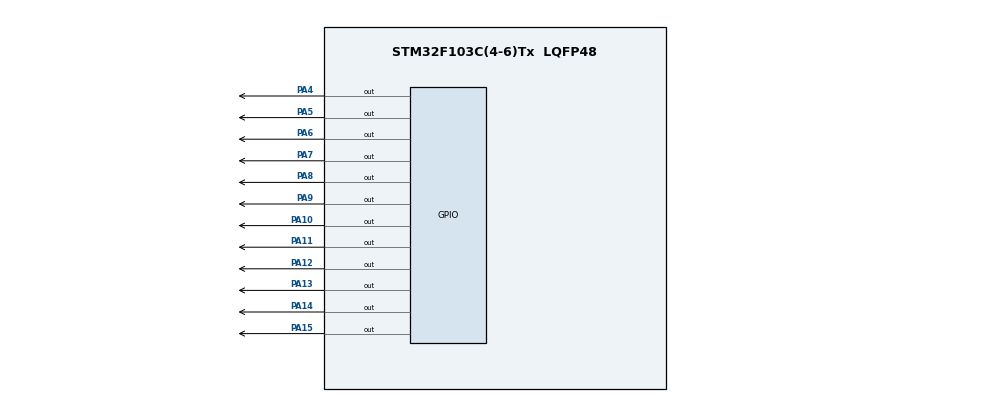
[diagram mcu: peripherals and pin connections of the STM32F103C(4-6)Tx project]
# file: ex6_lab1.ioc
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Mcu.Family=STM32F1
Mcu.Name=STM32F103C(4-6)Tx
Mcu.Package=LQFP48
NVIC.PriorityGroup=NVIC_PRIORITYGROUP_4
PA10.Signal=GPIO_Output
PA11.Signal=GPIO_Output
PA12.Signal=GPIO_Output
PA13.Signal=GPIO_Output
PA14.Signal=GPIO_Output
PA15.Signal=GPIO_Output
PA4.Signal=GPIO_Output
PA5.Signal=GPIO_Output
PA6.Signal=GPIO_Output
PA7.Signal=GPIO_Output
PA8.Signal=GPIO_Output
PA9.Signal=GPIO_Output
ProjectManager.HeapSize=0x200
ProjectManager.StackSize=0x400
ProjectManager.TargetToolchain=STM32CubeIDE
RCC.APB1Freq_Value=8000000
RCC.APB2Freq_Value=8000000
board=custom

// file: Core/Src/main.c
/* USER CODE BEGIN Header */
/**
  ******************************************************************************
  * @file           : main.c
  * @brief          : Main program body
  ******************************************************************************
  * @attention
  *
  * Copyright (c) 2025 STMicroelectronics.
  * All rights reserved.
  *
  * This software is licensed under terms that can be found in the LICENSE file
  * in the root directory of this software component.
  * If no LICENSE file comes with this software, it is provided AS-IS.
  *
  ******************************************************************************
  */
/* USER CODE END Header */
#include "main.h"

void SystemClock_Config(void);
static void MX_GPIO_Init(void);

int main(void)
{

  /* MCU Configuration--------------------------------------------------------*/

  /* Reset of all peripherals, Initializes the Flash interface and the Systick. */
  HAL_Init();

  /* Configure the system clock */
  SystemClock_Config();

  /* Initialize all configured peripherals */
  MX_GPIO_Init();

  /* Infinite loop */
  /* USER CODE BEGIN WHILE */
  while (1)
  {
	  HAL_GPIO_WritePin(GPIOA, GPIO_PIN_4, SET);
	  HAL_Delay(1000);
	  HAL_GPIO_WritePin(GPIOA, GPIO_PIN_4, RESET);
	  HAL_GPIO_WritePin(GPIOA, GPIO_PIN_5, SET);
	  HAL_Delay(1000);
	  HAL_GPIO_WritePin(GPIOA, GPIO_PIN_5, RESET);
	  HAL_GPIO_WritePin(GPIOA, GPIO_PIN_6, SET);
	  HAL_Delay(1000);
	  HAL_GPIO_WritePin(GPIOA, GPIO_PIN_6, RESET);
	  HAL_GPIO_WritePin(GPIOA, GPIO_PIN_7, SET);
	  HAL_Delay(1000);
	  HAL_GPIO_WritePin(GPIOA, GPIO_PIN_7, RESET);
	  HAL_GPIO_WritePin(GPIOA, GPIO_PIN_8, SET);
	  HAL_Delay(1000);
	  HAL_GPIO_WritePin(GPIOA, GPIO_PIN_8, RESET);
	  HAL_GPIO_WritePin(GPIOA, GPIO_PIN_9, SET);
	  HAL_Delay(1000);
	  HAL_GPIO_WritePin(GPIOA, GPIO_PIN_9, RESET);
	  HAL_GPIO_WritePin(GPIOA, GPIO_PIN_10, SET);
	  HAL_Delay(1000);
	  HAL_GPIO_WritePin(GPIOA, GPIO_PIN_10, RESET);
	  HAL_GPIO_WritePin(GPIOA, GPIO_PIN_11, SET);
	  HAL_Delay(1000);
	  HAL_GPIO_WritePin(GPIOA, GPIO_PIN_11, RESET);
	  HAL_GPIO_WritePin(GPIOA, GPIO_PIN_12, SET);
	  HAL_Delay(1000);
	  HAL_GPIO_WritePin(GPIOA, GPIO_PIN_12, RESET);
	  HAL_GPIO_WritePin(GPIOA, GPIO_PIN_13, SET);
	  HAL_Delay(1000);
	  HAL_GPIO_WritePin(GPIOA, GPIO_PIN_13, RESET);
	  HAL_GPIO_WritePin(GPIOA, GPIO_PIN_14, SET);
	  HAL_Delay(1000);
	  HAL_GPIO_WritePin(GPIOA, GPIO_PIN_14, RESET);
	  HAL_GPIO_WritePin(GPIOA, GPIO_PIN_15, SET);
	  HAL_Delay(1000);
	  HAL_GPIO_WritePin(GPIOA, GPIO_PIN_15, RESET);
    /* USER CODE END WHILE */

  }
}

void SystemClock_Config(void)
{
  RCC_OscInitTypeDef RCC_OscInitStruct = {0};
  RCC_ClkInitTypeDef RCC_ClkInitStruct = {0};

  /** Initializes the RCC Oscillators according to the specified parameters
  * in the RCC_OscInitTypeDef structure.
  */
  RCC_OscInitStruct.OscillatorType = RCC_OSCILLATORTYPE_HSI;
  RCC_OscInitStruct.HSIState = RCC_HSI_ON;
  RCC_OscInitStruct.HSICalibrationValue = RCC_HSICALIBRATION_DEFAULT;
  RCC_OscInitStruct.PLL.PLLState = RCC_PLL_NONE;
  if (HAL_RCC_OscConfig(&RCC_OscInitStruct) != HAL_OK)
  {
    Error_Handler();
  }

  /** Initializes the CPU, AHB and APB buses clocks
  */
  RCC_ClkInitStruct.ClockType = RCC_CLOCKTYPE_HCLK|RCC_CLOCKTYPE_SYSCLK
                              |RCC_CLOCKTYPE_PCLK1|RCC_CLOCKTYPE_PCLK2;
  RCC_ClkInitStruct.SYSCLKSource = RCC_SYSCLKSOURCE_HSI;
  RCC_ClkInitStruct.AHBCLKDivider = RCC_SYSCLK_DIV1;
  RCC_ClkInitStruct.APB1CLKDivider = RCC_HCLK_DIV1;
  RCC_ClkInitStruct.APB2CLKDivider = RCC_HCLK_DIV1;

  if (HAL_RCC_ClockConfig(&RCC_ClkInitStruct, FLASH_LATENCY_0) != HAL_OK)
  {
    Error_Handler();
  }
}

static void MX_GPIO_Init(void)
{
  GPIO_InitTypeDef GPIO_InitStruct = {0};

  /* GPIO Ports Clock Enable */
  __HAL_RCC_GPIOA_CLK_ENABLE();

  /*Configure GPIO pin Output Level */
  HAL_GPIO_WritePin(GPIOA, GPIO_PIN_4|GPIO_PIN_5|GPIO_PIN_6|GPIO_PIN_7
                          |GPIO_PIN_8|GPIO_PIN_9|GPIO_PIN_10|GPIO_PIN_11
                          |GPIO_PIN_12|GPIO_PIN_13|GPIO_PIN_14|GPIO_PIN_15, GPIO_PIN_RESET);

  /*Configure GPIO pins : PA4 PA5 PA6 PA7
                           PA8 PA9 PA10 PA11
                           PA12 PA13 PA14 PA15 */
  GPIO_InitStruct.Pin = GPIO_PIN_4|GPIO_PIN_5|GPIO_PIN_6|GPIO_PIN_7
                          |GPIO_PIN_8|GPIO_PIN_9|GPIO_PIN_10|GPIO_PIN_11
                          |GPIO_PIN_12|GPIO_PIN_13|GPIO_PIN_14|GPIO_PIN_15;
  GPIO_InitStruct.Mode = GPIO_MODE_OUTPUT_PP;
  GPIO_InitStruct.Pull = GPIO_NOPULL;
  GPIO_InitStruct.Speed = GPIO_SPEED_FREQ_LOW;
  HAL_GPIO_Init(GPIOA, &GPIO_InitStruct);

}

void Error_Handler(void)
{
  __disable_irq();
  while (1)
  {
  }
}
